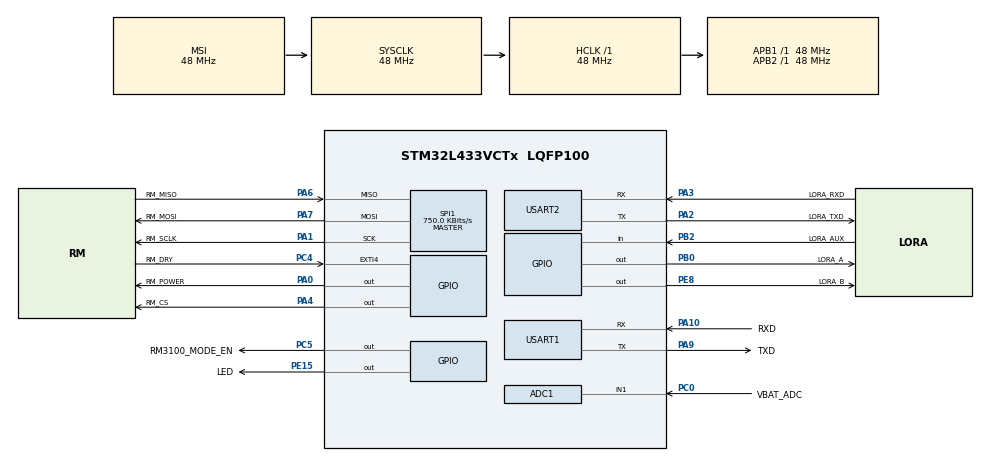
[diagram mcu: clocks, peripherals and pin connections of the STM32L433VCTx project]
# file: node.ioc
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ADC1.Channel-0\#ChannelRegularConversion=ADC_CHANNEL_1
ADC1.ClockPrescaler=ADC_CLOCK_ASYNC_DIV16
ADC1.NbrOfConversionFlag=1
ADC1.OffsetNumber-0\#ChannelRegularConversion=ADC_OFFSET_NONE
ADC1.Rank-0\#ChannelRegularConversion=1
ADC1.SamplingTime-0\#ChannelRegularConversion=ADC_SAMPLETIME_2CYCLES_5
ADC1.master=1
Dma.Request0=USART2_RX
Dma.Request1=USART1_RX
Dma.USART1_RX.1.Direction=DMA_PERIPH_TO_MEMORY
Dma.USART1_RX.1.Instance=DMA1_Channel5
Dma.USART1_RX.1.MemDataAlignment=DMA_MDATAALIGN_BYTE
Dma.USART1_RX.1.MemInc=DMA_MINC_ENABLE
Dma.USART1_RX.1.Mode=DMA_CIRCULAR
Dma.USART1_RX.1.PeriphDataAlignment=DMA_PDATAALIGN_BYTE
Dma.USART1_RX.1.PeriphInc=DMA_PINC_DISABLE
Dma.USART1_RX.1.Priority=DMA_PRIORITY_LOW
Dma.USART2_RX.0.Direction=DMA_PERIPH_TO_MEMORY
Dma.USART2_RX.0.Instance=DMA1_Channel6
Dma.USART2_RX.0.MemDataAlignment=DMA_MDATAALIGN_BYTE
Dma.USART2_RX.0.MemInc=DMA_MINC_ENABLE
Dma.USART2_RX.0.Mode=DMA_CIRCULAR
Dma.USART2_RX.0.PeriphDataAlignment=DMA_PDATAALIGN_BYTE
Dma.USART2_RX.0.PeriphInc=DMA_PINC_DISABLE
Dma.USART2_RX.0.Priority=DMA_PRIORITY_LOW
IWDG.Prescaler=IWDG_PRESCALER_32
IWDG.Reload=4000
IWDG.Window=4000
Mcu.Family=STM32L4
Mcu.Name=STM32L433VCTx
Mcu.Package=LQFP100
NVIC.DMA1_Channel5_IRQn=true\:0\:0\:false\:false\:true\:false\:true
NVIC.DMA1_Channel6_IRQn=true\:0\:0\:false\:false\:true\:false\:true
NVIC.EXTI4_IRQn=true\:0\:0\:false\:false\:true\:true\:true
NVIC.PriorityGroup=NVIC_PRIORITYGROUP_4
NVIC.USART1_IRQn=true\:0\:0\:false\:false\:true\:true\:true
NVIC.USART2_IRQn=true\:0\:0\:false\:false\:true\:true\:true
PA0.GPIO_Label=RM_POWER
PA0.Signal=GPIO_Output
PA1.GPIO_Label=RM_SCLK
PA1.Mode=Full_Duplex_Master
PA1.Signal=SPI1_SCK
PA10.GPIO_Label=RXD
PA10.Mode=Asynchronous
PA10.Signal=USART1_RX
PA13\ (JTMS-SWDIO).Mode=Serial_Wire
PA13\ (JTMS-SWDIO).Signal=SYS_JTMS-SWDIO
PA14\ (JTCK-SWCLK).Mode=Serial_Wire
PA14\ (JTCK-SWCLK).Signal=SYS_JTCK-SWCLK
PA2.GPIO_Label=LORA_TXD
PA2.Mode=Asynchronous
PA2.Signal=USART2_TX
PA3.GPIO_Label=LORA_RXD
PA3.Mode=Asynchronous
PA3.Signal=USART2_RX
PA4.GPIO_Label=RM_CS
PA4.Signal=GPIO_Output
PA6.GPIO_Label=RM_MISO
PA6.Mode=Full_Duplex_Master
PA6.Signal=SPI1_MISO
PA7.GPIO_Label=RM_MOSI
PA7.Mode=Full_Duplex_Master
PA7.Signal=SPI1_MOSI
PA9.GPIO_Label=TXD
PA9.Mode=Asynchronous
PA9.Signal=USART1_TX
PB0.GPIO_Label=LORA_A
PB0.Signal=GPIO_Output
PB2.GPIO_Label=LORA_AUX
PB2.Signal=GPIO_Input
PC0.GPIO_Label=VBAT_ADC
PC0.Signal=ADCx_IN1
PC4.GPIO_Label=RM_DRY
PC4.GPIO_ModeDefaultEXTI=GPIO_MODE_IT_RISING
PC4.GPIO_PuPd=GPIO_PULLUP
PC4.Signal=GPXTI4
PC5.GPIO_Label=RM3100_MODE_EN
PC5.Signal=GPIO_Output
PE15.GPIO_Label=LED
PE15.Signal=GPIO_Output
PE8.GPIO_Label=LORA_B
PE8.Signal=GPIO_Output
ProjectManager.HeapSize=0x200
ProjectManager.StackSize=0x400
ProjectManager.TargetToolchain=MDK-ARM V5
RCC.ADCFreq_Value=64000000
RCC.AHBFreq_Value=48000000
RCC.APB1Freq_Value=48000000
RCC.APB1TimFreq_Value=48000000
RCC.APB2Freq_Value=48000000
RCC.APB2TimFreq_Value=48000000
RCC.CortexFreq_Value=48000000
RCC.HCLKFreq_Value=48000000
RCC.HSE_VALUE=8000000
RCC.HSI48_VALUE=48000000
RCC.HSI_VALUE=16000000
RCC.LSE_VALUE=32768
RCC.MSIClockRange=RCC_MSIRANGE_11
RCC.MSI_VALUE=48000000
RCC.PLLM=3
RCC.SYSCLKFreq_VALUE=48000000
RCC.USBFreq_Value=64000000
RCC.VCOOutputFreq_Value=128000000
SH.ADCx_IN1.0=ADC1_IN1,IN1-Single-Ended
SPI1.BaudRatePrescaler=SPI_BAUDRATEPRESCALER_64
SPI1.CalculateBaudRate=750.0 KBits/s
SPI1.DataSize=SPI_DATASIZE_8BIT
SPI1.Direction=SPI_DIRECTION_2LINES
SPI1.Mode=SPI_MODE_MASTER
SPI1.VirtualType=VM_MASTER
USART1.VirtualMode-Asynchronous=VM_ASYNC
USART2.VirtualMode-Asynchronous=VM_ASYNC
VP_IWDG_VS_IWDG.Mode=IWDG_Activate
board=custom

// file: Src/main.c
/* USER CODE BEGIN Header */
/**
  ******************************************************************************
  * @file           : main.c
  * @brief          : Main program body
  ******************************************************************************
  ** This notice applies to any and all portions of this file
  * that are not between comment pairs USER CODE BEGIN and
  * USER CODE END. Other portions of this file, whether
  * inserted by the user or by software development tools
  * are owned by their respective copyright owners.
  *
  * COPYRIGHT(c) 2019 STMicroelectronics
  *
  * Redistribution and use in source and binary forms, with or without modification,
  * are permitted provided that the following conditions are met:
  *   1. Redistributions of source code must retain the above copyright notice,
  *      this list of conditions and the following disclaimer.
  *   2. Redistributions in binary form must reproduce the above copyright notice,
  *      this list of conditions and the following disclaimer in the documentation
  *      and/or other materials provided with the distribution.
  *   3. Neither the name of STMicroelectronics nor the names of its contributors
  *      may be used to endorse or promote products derived from this software
  *      without specific prior written permission.
  *
  * THIS SOFTWARE IS PROVIDED BY THE COPYRIGHT HOLDERS AND CONTRIBUTORS "AS IS"
  * AND ANY EXPRESS OR IMPLIED WARRANTIES, INCLUDING, BUT NOT LIMITED TO, THE
  * IMPLIED WARRANTIES OF MERCHANTABILITY AND FITNESS FOR A PARTICULAR PURPOSE ARE
  * DISCLAIMED. IN NO EVENT SHALL THE COPYRIGHT HOLDER OR CONTRIBUTORS BE LIABLE
  * FOR ANY DIRECT, INDIRECT, INCIDENTAL, SPECIAL, EXEMPLARY, OR CONSEQUENTIAL
  * DAMAGES (INCLUDING, BUT NOT LIMITED TO, PROCUREMENT OF SUBSTITUTE GOODS OR
  * SERVICES; LOSS OF USE, DATA, OR PROFITS; OR BUSINESS INTERRUPTION) HOWEVER
  * CAUSED AND ON ANY THEORY OF LIABILITY, WHETHER IN CONTRACT, STRICT LIABILITY,
  * OR TORT (INCLUDING NEGLIGENCE OR OTHERWISE) ARISING IN ANY WAY OUT OF THE USE
  * OF THIS SOFTWARE, EVEN IF ADVISED OF THE POSSIBILITY OF SUCH DAMAGE.
  *
  ******************************************************************************
  */
/* USER CODE END Header */

#include "main.h"

/* USER CODE BEGIN Includes */
#include "bsp.h"
#include "sensor.h"
#include "mag3D3100.h"
#include "stdio.h"
#include "node_protocol.h"
#include "filter.h"
/* USER CODE END Includes */

ADC_HandleTypeDef hadc1;

IWDG_HandleTypeDef hiwdg;

SPI_HandleTypeDef hspi1;

UART_HandleTypeDef huart1;
UART_HandleTypeDef huart2;
DMA_HandleTypeDef hdma_usart1_rx;
DMA_HandleTypeDef hdma_usart2_rx;

void SystemClock_Config(void);
static void MX_GPIO_Init(void);
static void MX_DMA_Init(void);
static void MX_SPI1_Init(void);
static void MX_USART2_UART_Init(void);
static void MX_USART1_UART_Init(void);
static void MX_ADC1_Init(void);
static void MX_IWDG_Init(void);
/* USER CODE BEGIN PFP */
extern uart_stru uart2;
/* USER CODE END PFP */

/* USER CODE BEGIN 0 */
MagData_t dataMd;
uint32_t current_tick,led_tick,current_cnt;
unsigned char uart2_tx_buff[16]={0xab,0xab,0x01,0x04,0x03,0x91,0x01,0x90,0x06};
/* USER CODE END 0 */

int main(void)
{

  /* MCU Configuration--------------------------------------------------------*/

  /* Reset of all peripherals, Initializes the Flash interface and the Systick. */

  HAL_Init();

  /* Configure the system clock */
  SystemClock_Config();

  /* Initialize all configured peripherals */
  MX_GPIO_Init();
  MX_DMA_Init();
  MX_SPI1_Init();
  MX_USART2_UART_Init();
  MX_USART1_UART_Init();
  MX_ADC1_Init();
  //MX_IWDG_Init();
  /* USER CODE BEGIN 2 */

	 nodeParamsInit();
	HAL_GPIO_WritePin(I2C_MODE_GPIO_Port, I2C_MODE_Pin, GPIO_PIN_RESET);
  ThreeD3100_magic_init();
  MagneticInit();
	current_tick = HAL_GetTick();
	led_tick = HAL_GetTick();
	 Hardware_Init();
 // ;
  /* USER CODE END 2 */

  /* Infinite loop */
  while (1)
  {

    /* USER CODE BEGIN 3 */

	//HAL_Delay(1000);
//	 sensor_process();
		//
			if((HAL_GetTick()-led_tick)>=2000)
		{

			led_tick = HAL_GetTick();
      //HAL_UART_Transmit(&huart2, uart2_tx_buff,9, 1);
    current_cnt =current_cnt +5;
		}
//		if((HAL_GetTick()-current_tick)>=50)
//		{
//			current_tick = HAL_GetTick();
//
//      printf("  Manetic X:  %d",dataMd.MAG_X);
//      printf("  Manetic Y:  %d",dataMd.MAG_Y);
//      printf("  Manetic Z:  %d\n",dataMd.MAG_Z);
//		}
		vehicle_process();
  //  HAL_IWDG_Refresh(&hiwdg);

  }
  /* USER CODE END 3 */
}

void SystemClock_Config(void)
{
  RCC_OscInitTypeDef RCC_OscInitStruct = {0};
  RCC_ClkInitTypeDef RCC_ClkInitStruct = {0};
  RCC_PeriphCLKInitTypeDef PeriphClkInit = {0};

  /** Initializes the CPU, AHB and APB busses clocks
  */
  RCC_OscInitStruct.OscillatorType = RCC_OSCILLATORTYPE_LSI|RCC_OSCILLATORTYPE_MSI;
  RCC_OscInitStruct.LSIState = RCC_LSI_ON;
  RCC_OscInitStruct.MSIState = RCC_MSI_ON;
  RCC_OscInitStruct.MSICalibrationValue = 0;
  RCC_OscInitStruct.MSIClockRange = RCC_MSIRANGE_11;
  RCC_OscInitStruct.PLL.PLLState = RCC_PLL_NONE;
  if (HAL_RCC_OscConfig(&RCC_OscInitStruct) != HAL_OK)
  {
    Error_Handler();
  }
  /** Initializes the CPU, AHB and APB busses clocks
  */
  RCC_ClkInitStruct.ClockType = RCC_CLOCKTYPE_HCLK|RCC_CLOCKTYPE_SYSCLK
                              |RCC_CLOCKTYPE_PCLK1|RCC_CLOCKTYPE_PCLK2;
  RCC_ClkInitStruct.SYSCLKSource = RCC_SYSCLKSOURCE_MSI;
  RCC_ClkInitStruct.AHBCLKDivider = RCC_SYSCLK_DIV1;
  RCC_ClkInitStruct.APB1CLKDivider = RCC_HCLK_DIV1;
  RCC_ClkInitStruct.APB2CLKDivider = RCC_HCLK_DIV1;

  if (HAL_RCC_ClockConfig(&RCC_ClkInitStruct, FLASH_LATENCY_2) != HAL_OK)
  {
    Error_Handler();
  }
  PeriphClkInit.PeriphClockSelection = RCC_PERIPHCLK_USART1|RCC_PERIPHCLK_USART2
                              |RCC_PERIPHCLK_ADC;
  PeriphClkInit.Usart1ClockSelection = RCC_USART1CLKSOURCE_PCLK2;
  PeriphClkInit.Usart2ClockSelection = RCC_USART2CLKSOURCE_PCLK1;
  PeriphClkInit.AdcClockSelection = RCC_ADCCLKSOURCE_PLLSAI1;
  PeriphClkInit.PLLSAI1.PLLSAI1Source = RCC_PLLSOURCE_MSI;
  PeriphClkInit.PLLSAI1.PLLSAI1M = 3;
  PeriphClkInit.PLLSAI1.PLLSAI1N = 8;
  PeriphClkInit.PLLSAI1.PLLSAI1P = RCC_PLLP_DIV7;
  PeriphClkInit.PLLSAI1.PLLSAI1Q = RCC_PLLQ_DIV2;
  PeriphClkInit.PLLSAI1.PLLSAI1R = RCC_PLLR_DIV2;
  PeriphClkInit.PLLSAI1.PLLSAI1ClockOut = RCC_PLLSAI1_ADC1CLK;
  if (HAL_RCCEx_PeriphCLKConfig(&PeriphClkInit) != HAL_OK)
  {
    Error_Handler();
  }
  /** Configure the main internal regulator output voltage
  */
  if (HAL_PWREx_ControlVoltageScaling(PWR_REGULATOR_VOLTAGE_SCALE1) != HAL_OK)
  {
    Error_Handler();
  }
}

static void MX_ADC1_Init(void)
{

  ADC_ChannelConfTypeDef sConfig = {0};

  /** Common config
  */
  hadc1.Instance = ADC1;
  hadc1.Init.ClockPrescaler = ADC_CLOCK_ASYNC_DIV16;
  hadc1.Init.Resolution = ADC_RESOLUTION_12B;
  hadc1.Init.DataAlign = ADC_DATAALIGN_RIGHT;
  hadc1.Init.ScanConvMode = ADC_SCAN_DISABLE;
  hadc1.Init.EOCSelection = ADC_EOC_SINGLE_CONV;
  hadc1.Init.LowPowerAutoWait = DISABLE;
  hadc1.Init.ContinuousConvMode = DISABLE;
  hadc1.Init.NbrOfConversion = 1;
  hadc1.Init.DiscontinuousConvMode = DISABLE;
  hadc1.Init.ExternalTrigConv = ADC_SOFTWARE_START;
  hadc1.Init.ExternalTrigConvEdge = ADC_EXTERNALTRIGCONVEDGE_NONE;
  hadc1.Init.DMAContinuousRequests = DISABLE;
  hadc1.Init.Overrun = ADC_OVR_DATA_PRESERVED;
  hadc1.Init.OversamplingMode = DISABLE;
  if (HAL_ADC_Init(&hadc1) != HAL_OK)
  {
    Error_Handler();
  }
  /** Configure Regular Channel
  */
  sConfig.Channel = ADC_CHANNEL_1;
  sConfig.Rank = ADC_REGULAR_RANK_1;
  sConfig.SamplingTime = ADC_SAMPLETIME_2CYCLES_5;
  sConfig.SingleDiff = ADC_SINGLE_ENDED;
  sConfig.OffsetNumber = ADC_OFFSET_NONE;
  sConfig.Offset = 0;
  if (HAL_ADC_ConfigChannel(&hadc1, &sConfig) != HAL_OK)
  {
    Error_Handler();
  }

}

static void MX_IWDG_Init(void)
{

  hiwdg.Instance = IWDG;
  hiwdg.Init.Prescaler = IWDG_PRESCALER_32;
  hiwdg.Init.Window = 4000;
  hiwdg.Init.Reload = 4000;
  if (HAL_IWDG_Init(&hiwdg) != HAL_OK)
  {
    Error_Handler();
  }

}

static void MX_SPI1_Init(void)
{

  /* SPI1 parameter configuration*/
  hspi1.Instance = SPI1;
  hspi1.Init.Mode = SPI_MODE_MASTER;
  hspi1.Init.Direction = SPI_DIRECTION_2LINES;
  hspi1.Init.DataSize = SPI_DATASIZE_8BIT;
  hspi1.Init.CLKPolarity = SPI_POLARITY_LOW;
  hspi1.Init.CLKPhase = SPI_PHASE_1EDGE;
  hspi1.Init.NSS = SPI_NSS_SOFT;
  hspi1.Init.BaudRatePrescaler = SPI_BAUDRATEPRESCALER_64;
  hspi1.Init.FirstBit = SPI_FIRSTBIT_MSB;
  hspi1.Init.TIMode = SPI_TIMODE_DISABLE;
  hspi1.Init.CRCCalculation = SPI_CRCCALCULATION_DISABLE;
  hspi1.Init.CRCPolynomial = 7;
  hspi1.Init.CRCLength = SPI_CRC_LENGTH_DATASIZE;
  hspi1.Init.NSSPMode = SPI_NSS_PULSE_ENABLE;
  if (HAL_SPI_Init(&hspi1) != HAL_OK)
  {
    Error_Handler();
  }

}

static void MX_USART1_UART_Init(void)
{

  huart1.Instance = USART1;
  huart1.Init.BaudRate = 115200;
  huart1.Init.WordLength = UART_WORDLENGTH_8B;
  huart1.Init.StopBits = UART_STOPBITS_1;
  huart1.Init.Parity = UART_PARITY_NONE;
  huart1.Init.Mode = UART_MODE_TX_RX;
  huart1.Init.HwFlowCtl = UART_HWCONTROL_NONE;
  huart1.Init.OverSampling = UART_OVERSAMPLING_16;
  huart1.Init.OneBitSampling = UART_ONE_BIT_SAMPLE_DISABLE;
  huart1.AdvancedInit.AdvFeatureInit = UART_ADVFEATURE_NO_INIT;
  if (HAL_UART_Init(&huart1) != HAL_OK)
  {
    Error_Handler();
  }

}

static void MX_USART2_UART_Init(void)
{

  huart2.Instance = USART2;
  huart2.Init.BaudRate = 115200;
  huart2.Init.WordLength = UART_WORDLENGTH_8B;
  huart2.Init.StopBits = UART_STOPBITS_1;
  huart2.Init.Parity = UART_PARITY_NONE;
  huart2.Init.Mode = UART_MODE_TX_RX;
  huart2.Init.HwFlowCtl = UART_HWCONTROL_NONE;
  huart2.Init.OverSampling = UART_OVERSAMPLING_16;
  huart2.Init.OneBitSampling = UART_ONE_BIT_SAMPLE_DISABLE;
  huart2.AdvancedInit.AdvFeatureInit = UART_ADVFEATURE_NO_INIT;
  if (HAL_UART_Init(&huart2) != HAL_OK)
  {
    Error_Handler();
  }

}

static void MX_DMA_Init(void)
{

  /* DMA controller clock enable */
  __HAL_RCC_DMA1_CLK_ENABLE();

  /* DMA interrupt init */
  /* DMA1_Channel5_IRQn interrupt configuration */
  HAL_NVIC_SetPriority(DMA1_Channel5_IRQn, 0, 0);
  HAL_NVIC_EnableIRQ(DMA1_Channel5_IRQn);
  /* DMA1_Channel6_IRQn interrupt configuration */
  HAL_NVIC_SetPriority(DMA1_Channel6_IRQn, 0, 0);
  HAL_NVIC_EnableIRQ(DMA1_Channel6_IRQn);

}

static void MX_GPIO_Init(void)
{
  GPIO_InitTypeDef GPIO_InitStruct = {0};

  /* GPIO Ports Clock Enable */
  __HAL_RCC_GPIOC_CLK_ENABLE();
  __HAL_RCC_GPIOA_CLK_ENABLE();
  __HAL_RCC_GPIOB_CLK_ENABLE();
  __HAL_RCC_GPIOE_CLK_ENABLE();

  /*Configure GPIO pin Output Level */
  HAL_GPIO_WritePin(GPIOA, RM_POWER_Pin|RM_CS_Pin, GPIO_PIN_RESET);

  /*Configure GPIO pin Output Level */
  HAL_GPIO_WritePin(RM3100_MODE_EN_GPIO_Port, RM3100_MODE_EN_Pin, GPIO_PIN_RESET);

  /*Configure GPIO pin Output Level */
  HAL_GPIO_WritePin(LORA_A_GPIO_Port, LORA_A_Pin, GPIO_PIN_RESET);

  /*Configure GPIO pin Output Level */
  HAL_GPIO_WritePin(GPIOE, LORA_B_Pin|LED_Pin, GPIO_PIN_RESET);

  /*Configure GPIO pins : RM_POWER_Pin RM_CS_Pin */
  GPIO_InitStruct.Pin = RM_POWER_Pin|RM_CS_Pin;
  GPIO_InitStruct.Mode = GPIO_MODE_OUTPUT_PP;
  GPIO_InitStruct.Pull = GPIO_NOPULL;
  GPIO_InitStruct.Speed = GPIO_SPEED_FREQ_LOW;
  HAL_GPIO_Init(GPIOA, &GPIO_InitStruct);

  /*Configure GPIO pin : RM_DRY_Pin */
  GPIO_InitStruct.Pin = RM_DRY_Pin;
  GPIO_InitStruct.Mode = GPIO_MODE_IT_RISING;
  GPIO_InitStruct.Pull = GPIO_PULLUP;
  HAL_GPIO_Init(RM_DRY_GPIO_Port, &GPIO_InitStruct);

  /*Configure GPIO pin : RM3100_MODE_EN_Pin */
  GPIO_InitStruct.Pin = RM3100_MODE_EN_Pin;
  GPIO_InitStruct.Mode = GPIO_MODE_OUTPUT_PP;
  GPIO_InitStruct.Pull = GPIO_NOPULL;
  GPIO_InitStruct.Speed = GPIO_SPEED_FREQ_LOW;
  HAL_GPIO_Init(RM3100_MODE_EN_GPIO_Port, &GPIO_InitStruct);

  /*Configure GPIO pin : LORA_A_Pin */
  GPIO_InitStruct.Pin = LORA_A_Pin;
  GPIO_InitStruct.Mode = GPIO_MODE_OUTPUT_PP;
  GPIO_InitStruct.Pull = GPIO_NOPULL;
  GPIO_InitStruct.Speed = GPIO_SPEED_FREQ_LOW;
  HAL_GPIO_Init(LORA_A_GPIO_Port, &GPIO_InitStruct);

  /*Configure GPIO pin : LORA_AUX_Pin */
  GPIO_InitStruct.Pin = LORA_AUX_Pin;
  GPIO_InitStruct.Mode = GPIO_MODE_INPUT;
  GPIO_InitStruct.Pull = GPIO_NOPULL;
  HAL_GPIO_Init(LORA_AUX_GPIO_Port, &GPIO_InitStruct);

  /*Configure GPIO pins : LORA_B_Pin LED_Pin */
  GPIO_InitStruct.Pin = LORA_B_Pin|LED_Pin;
  GPIO_InitStruct.Mode = GPIO_MODE_OUTPUT_PP;
  GPIO_InitStruct.Pull = GPIO_NOPULL;
  GPIO_InitStruct.Speed = GPIO_SPEED_FREQ_LOW;
  HAL_GPIO_Init(GPIOE, &GPIO_InitStruct);

  /* EXTI interrupt init*/
  HAL_NVIC_SetPriority(EXTI4_IRQn, 0, 0);
  HAL_NVIC_EnableIRQ(EXTI4_IRQn);

}

void Error_Handler(void)
{
}

/************************ (C) COPYRIGHT STMicroelectronics *****END OF FILE****/
